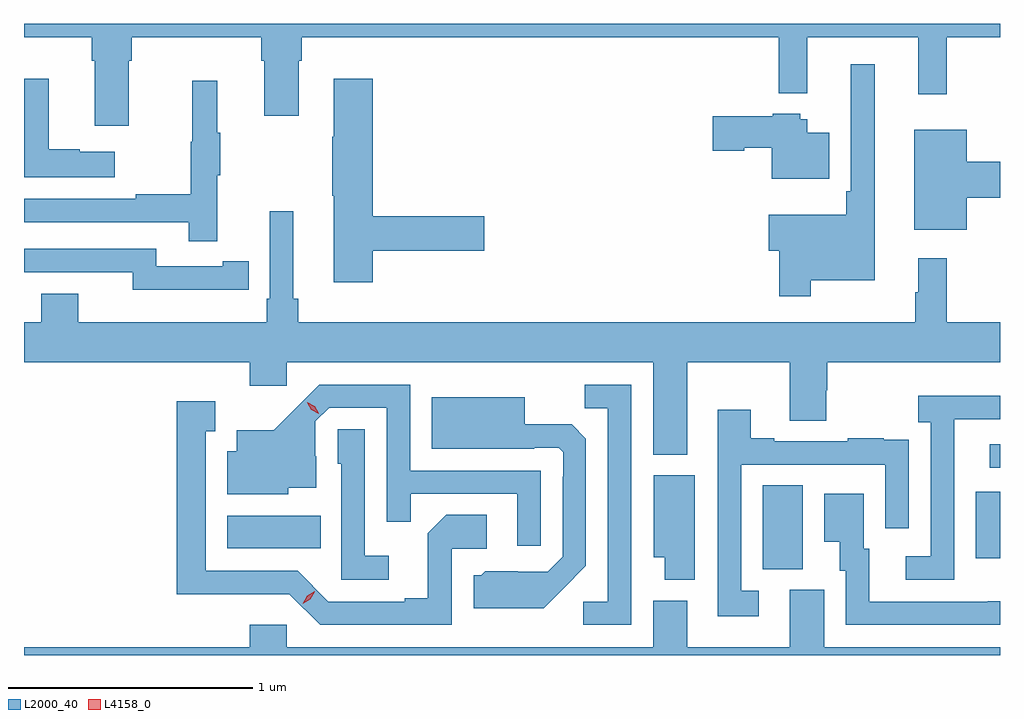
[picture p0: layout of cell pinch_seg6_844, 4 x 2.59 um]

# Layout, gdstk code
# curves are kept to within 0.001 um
import gdstk
lib = gdstk.Library(unit=1e-6, precision=1e-09)
def R(c, l, rs):  # rectangles x0, y0, x1, y1
    for r in rs: c.add(gdstk.rectangle(r[:2], r[2:], *l))
def P(c, l, *ps):  # polygons
    for p in ps: c.add(gdstk.Polygon(p, *l))
L2000_40 = (2000, 40)
L4158_0 = (4158, 0)

pinch_seg6_844 = lib.new_cell('pinch_seg6_844')
R(pinch_seg6_844, L2000_40, [(149.558,915.853,149.722,916.196), (150.431,915.897,150.53,916.171), (147.362,915.938,147.746,916.072), (150.489,916.269,150.53,916.365)])
P(pinch_seg6_844, L2000_40, [(146.959,917.936),(146.972,917.936),(146.972,918.032),(147.503,918.032),(147.503,917.936),(147.515,917.936),(147.515,917.712),(147.655,917.712),(147.655,917.936),(147.668,917.936),(147.668,918.032),(149.623,918.032),(149.623,917.804),(149.741,917.804),(149.741,918.032),(150.194,918.032),(150.194,917.799),(150.311,917.799),(150.311,918.032),(150.53,918.032),(150.53,918.088),(146.53,918.088),(146.53,918.032),(146.807,918.032),(146.807,917.936),(146.819,917.936),(146.819,917.67),(146.959,917.67)],
  [(149.755,917.036),(150.016,917.036),(150.016,917.923),(149.919,917.923),(149.919,917.401),(149.899,917.401),(149.899,917.305),(149.582,917.305),(149.582,917.158),(149.626,917.158),(149.626,916.971),(149.755,916.971)],
  [(147.959,917.158),(148.417,917.158),(148.417,917.3),(147.959,917.3),(147.959,917.863),(147.8,917.863),(147.8,917.624),(147.793,917.624),(147.793,917.383),(147.8,917.383),(147.8,917.028),(147.959,917.028)],
  [(146.902,917.563),(146.759,917.563),(146.759,917.573),(146.632,917.573),(146.632,917.863),(146.53,917.863),(146.53,917.459),(146.902,917.459)],
  [(147.323,917.467),(147.334,917.467),(147.334,917.641),(147.323,917.641),(147.323,917.854),(147.22,917.854),(147.22,917.604),(147.213,917.604),(147.213,917.39),(146.989,917.39),(146.989,917.37),(146.53,917.37),(146.53,917.274),(147.205,917.274),(147.205,917.196),(147.323,917.196)],
  [(149.83,917.641),(149.74,917.641),(149.74,917.697),(149.712,917.697),(149.712,917.719),(149.598,917.719),(149.598,917.709),(149.352,917.709),(149.352,917.567),(149.481,917.567),(149.481,917.579),(149.594,917.579),(149.594,917.453),(149.83,917.453)],
  [(150.394,917.375),(150.53,917.375),(150.53,917.522),(150.394,917.522),(150.394,917.653),(150.179,917.653),(150.179,917.243),(150.394,917.243)],
  [(149.248,916.7),(149.669,916.7),(149.669,916.462),(149.817,916.462),(149.817,916.587),(149.822,916.587),(149.822,916.7),(150.53,916.7),(150.53,916.864),(150.311,916.864),(150.311,917.128),(150.194,917.128),(150.194,916.988),(150.183,916.988),(150.183,916.864),(147.653,916.864),(147.653,916.96),(147.634,916.96),(147.634,917.32),(147.537,917.32),(147.537,916.96),(147.524,916.96),(147.524,916.864),(146.752,916.864),(146.752,916.981),(146.6,916.981),(146.6,916.864),(146.53,916.864),(146.53,916.7),(147.455,916.7),(147.455,916.605),(147.606,916.605),(147.606,916.7),(149.108,916.7),(149.108,916.322),(149.248,916.322)],
  [(147.344,916.998),(147.452,916.998),(147.452,917.114),(147.344,917.114),(147.344,917.094),(147.072,917.094),(147.072,917.166),(146.53,917.166),(146.53,917.07),(146.976,917.07),(146.976,916.997),(147.344,916.997)],
  [(148.647,916.257),(148.113,916.257),(148.113,916.608),(147.74,916.608),(147.553,916.423),(147.401,916.423),(147.401,916.336),(147.362,916.336),(147.362,916.16),(147.612,916.16),(147.612,916.187),(147.727,916.187),(147.727,916.316),(147.723,916.316),(147.723,916.458),(147.78,916.515),(148.017,916.515),(148.017,916.048),(148.115,916.048),(148.115,916.161),(148.551,916.161),(148.551,915.948),(148.647,915.948)],
  [(149.019,916.608),(148.828,916.608),(148.828,916.513),(148.923,916.513),(148.923,915.72),(148.821,915.72),(148.821,915.624),(149.019,915.624)],
  [(150.342,916.267),(150.343,916.267),(150.343,916.467),(150.53,916.467),(150.53,916.564),(150.195,916.564),(150.195,916.454),(150.246,916.454),(150.246,915.906),(150.144,915.906),(150.144,915.81),(150.342,915.81)],
  [(148.741,915.773),(148.833,915.866),(148.833,916.388),(148.774,916.447),(148.582,916.447),(148.582,916.558),(148.202,916.558),(148.202,916.346),(148.622,916.346),(148.622,916.35),(148.722,916.35),(148.74,916.332),(148.74,916.232),(148.737,916.232),(148.737,915.903),(148.677,915.843),(148.42,915.844),(148.404,915.828),(148.373,915.828),(148.373,915.692),(148.661,915.692)],
  [(148.284,915.936),(148.426,915.936),(148.426,916.076),(148.261,916.076),(148.185,916),(148.185,915.733),(148.091,915.733),(148.091,915.72),(147.777,915.72),(147.651,915.846),(147.274,915.846),(147.274,916.419),(147.313,916.419),(147.313,916.54),(147.156,916.54),(147.156,915.749),(147.618,915.75),(147.744,915.624),(148.284,915.624)],
  [(149.542,915.765),(149.469,915.765),(149.469,916.281),(150.06,916.281),(150.06,916.02),(150.156,916.02),(150.156,916.274),(150.155,916.274),(150.155,916.383),(150.053,916.383),(150.053,916.39),(149.905,916.39),(149.905,916.377),(149.605,916.377),(149.605,916.39),(149.509,916.39),(149.509,916.507),(149.373,916.507),(149.373,915.66),(149.542,915.66)],
  [(148.024,915.907),(147.927,915.907),(147.927,916.427),(147.816,916.427),(147.816,916.284),(147.831,916.284),(147.831,915.81),(148.024,915.81)],
  [(149.278,916.237),(149.111,916.237),(149.111,915.902),(149.156,915.902),(149.156,915.809),(149.278,915.809)],
  [(150.53,915.721),(150.479,915.721),(150.479,915.72),(149.995,915.72),(149.995,915.936),(149.971,915.936),(149.971,916.162),(149.81,916.162),(149.81,915.965),(149.873,915.965),(149.873,915.846),(149.898,915.846),(149.898,915.624),(150.53,915.624)],
  [(150.53,915.532),(149.809,915.532),(149.809,915.768),(149.669,915.768),(149.669,915.532),(149.248,915.532),(149.248,915.724),(149.108,915.724),(149.108,915.532),(147.606,915.532),(147.606,915.625),(147.455,915.625),(147.455,915.532),(146.53,915.532),(146.53,915.5),(150.53,915.5)])
P(pinch_seg6_844, L4158_0, [(147.739,916.49),(147.708,916.506),(147.691,916.535),(147.691,916.536),(147.691,916.536),(147.722,916.52),(147.739,916.491),(147.739,916.49)],
  [(147.672,915.711),(147.672,915.711),(147.69,915.743),(147.722,915.762),(147.722,915.762),(147.722,915.761),(147.704,915.729),(147.672,915.711)])

lib.write_gds('pinch_seg6_844.gds')
